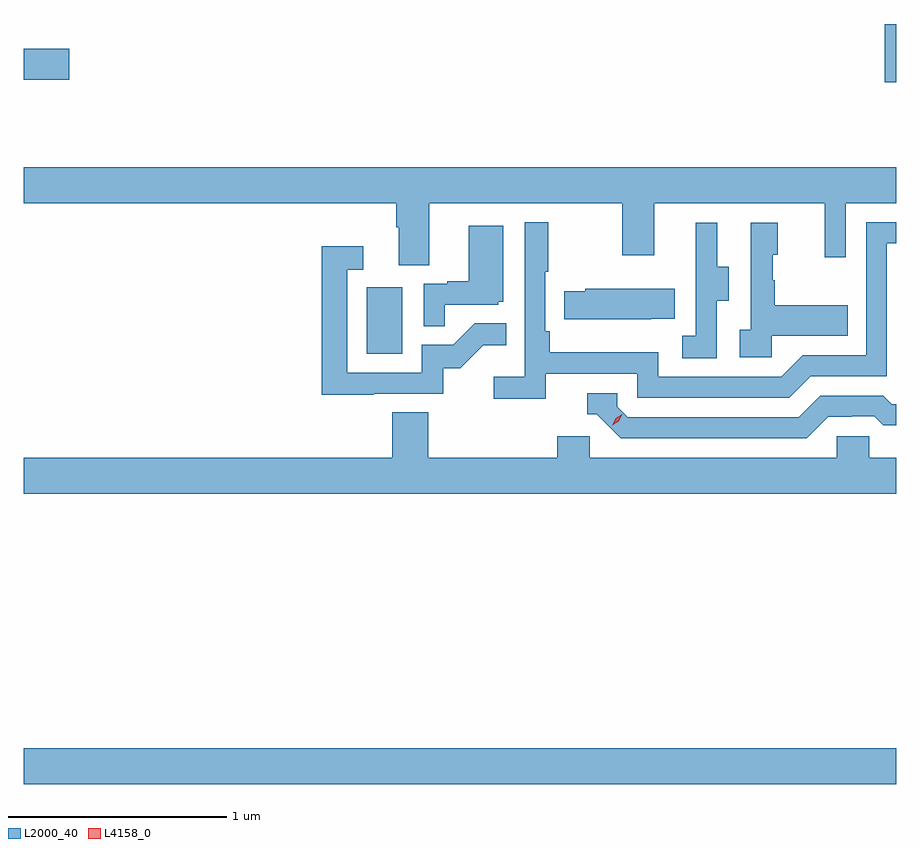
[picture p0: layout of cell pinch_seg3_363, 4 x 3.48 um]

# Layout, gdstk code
import gdstk
lib = gdstk.Library(unit=1e-6, precision=1e-09)
def R(c, l, rs):  # rectangles x0, y0, x1, y1
    for r in rs: c.add(gdstk.rectangle(r[:2], r[2:], *l))
def P(c, l, *ps):  # polygons
    for p in ps: c.add(gdstk.Polygon(p, *l))
L2000_40 = (2000, 40)
L4158_0 = (4158, 0)

pinch_seg3_363 = lib.new_cell('pinch_seg3_363')
R(pinch_seg3_363, L2000_40, [(962.948,704.912,966.948,705.076), (964.52,706.884,964.684,707.191), (966.896,708.129,966.948,708.397), (962.948,708.142,963.157,708.284)])
P(pinch_seg3_363, L2000_40, [(962.948,707.576),(964.655,707.576),(964.655,707.464),(964.667,707.464),(964.667,707.29),(964.807,707.29),(964.807,707.576),(965.692,707.576),(965.692,707.337),(965.839,707.337),(965.839,707.576),(966.62,707.576),(966.62,707.328),(966.717,707.328),(966.717,707.576),(966.948,707.576),(966.948,707.74),(962.948,707.74)],
  [(965.342,706.794),(965.76,706.794),(965.76,706.683),(966.457,706.683),(966.556,706.782),(966.906,706.782),(966.906,707.391),(966.948,707.391),(966.948,707.487),(966.81,707.487),(966.81,706.878),(966.519,706.878),(966.42,706.779),(965.856,706.779),(965.856,706.891),(965.36,706.891),(965.36,706.987),(965.34,706.987),(965.34,707.26),(965.353,707.26),(965.353,707.488),(965.244,707.488),(965.244,706.78),(965.103,706.78),(965.103,706.678),(965.342,706.678)],
  [(966.378,706.967),(966.725,706.967),(966.725,707.107),(966.391,707.107),(966.391,707.222),(966.381,707.222),(966.381,707.34),(966.406,707.34),(966.406,707.485),(966.282,707.485),(966.282,706.994),(966.231,706.994),(966.231,706.869),(966.378,706.869)],
  [(966.126,707.128),(966.181,707.128),(966.181,707.283),(966.127,707.283),(966.127,707.485),(966.029,707.485),(966.029,707.271),(966.03,707.271),(966.03,706.967),(965.967,706.967),(965.967,706.864),(966.126,706.864)],
  [(964.877,707.109),(965.124,707.109),(965.124,707.124),(965.146,707.124),(965.146,707.473),(964.988,707.473),(964.988,707.218),(964.889,707.218),(964.889,707.205),(964.782,707.205),(964.782,707.011),(964.877,707.011)],
  [(964.553,706.701),(964.872,706.701),(964.872,706.818),(964.948,706.818),(965.055,706.925),(965.159,706.925),(965.159,707.024),(965.015,707.024),(964.917,706.926),(964.773,706.926),(964.773,706.797),(964.431,706.797),(964.431,707.271),(964.504,707.271),(964.504,707.377),(964.315,707.377),(964.315,706.696),(964.553,706.696)],
  [(965.825,707.045),(965.933,707.045),(965.933,707.182),(965.523,707.182),(965.523,707.172),(965.425,707.172),(965.425,707.042),(965.825,707.042)],
  [(966.637,706.596),(966.744,706.596),(966.744,706.599),(966.847,706.599),(966.889,706.557),(966.948,706.557),(966.948,706.653),(966.928,706.653),(966.889,706.692),(966.6,706.692),(966.501,706.593),(965.718,706.593),(965.67,706.641),(965.67,706.704),(965.531,706.704),(965.531,706.608),(965.574,706.608),(965.685,706.497),(966.538,706.497)],
  [(966.948,706.408),(966.825,706.408),(966.825,706.506),(966.675,706.506),(966.675,706.408),(965.544,706.408),(965.544,706.506),(965.393,706.506),(965.393,706.408),(964.802,706.408),(964.802,706.616),(964.637,706.616),(964.637,706.408),(962.948,706.408),(962.948,706.244),(966.948,706.244)])
P(pinch_seg3_363, L4158_0, [(965.646,706.556),(965.646,706.556),(965.662,706.589),(965.692,706.608),(965.692,706.608),(965.692,706.608),(965.677,706.575),(965.646,706.556)])

lib.write_gds('pinch_seg3_363.gds')
